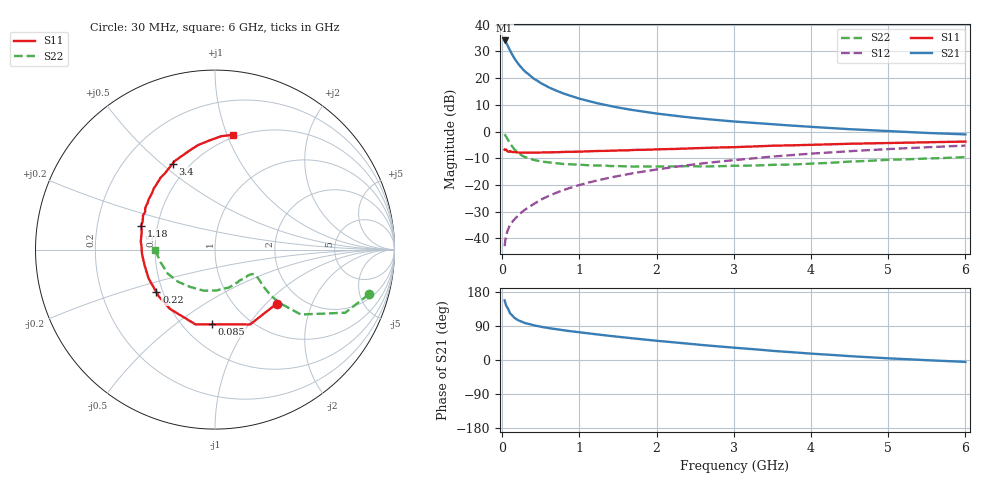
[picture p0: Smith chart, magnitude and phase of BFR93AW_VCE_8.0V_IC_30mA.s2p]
! Infineon Technologies  Discrete & RF Semiconductors
! BFR93AW
! VCE =  8.0 V,  IC =  30 mA
! Common Emitter S-Parameters:  Nov 2015
# GHz  S  MA  R  50
!  f  S11  S21  S12  S22
! GHz  MAG  ANG  MAG  ANG  MAG  ANG  MAG  ANG
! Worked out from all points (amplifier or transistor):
!   206 points, 30 MHz to 6 GHz, reference 50 ohm
!   highest |S21| = 34.1 dB at 30 MHz (marker M1)
!   |S21| within 3 dB of that: start of sweep to 86.22 MHz
!   unconditionally stable (mu >= 1): 471.9 MHz to 2.153 GHz
!   at 200 MHz: K = 0.79, MSG = 28.6 dB, |S12| = -31.6 dB
!   at 1.56 GHz: K = 1.04, MAG = 11.3 dB, |S12| = -16.3 dB
!   at 6 GHz: K = 0.89, MSG = 2.1 dB, |S12| = -5.3 dB
!   S11 on the Smith chart (normalised r, x): 30 MHz: 1.52, -1.16; 85 MHz: 0.68, -0.69; 220 MHz: 0.46, -0.26; 1.18 GHz: 0.41, +0.13; 3.4 GHz: 0.41, +0.55; 6 GHz: 0.48, +1.05
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0.03  0.4572 -41.1  50.88 157.5  0.0071 74.4  0.8935 -16.2
0.05  0.4608 -64.9  46.05 143.6  0.0115 68.9  0.806 -25.9
0.085  0.4169 -92.5  36.32 130.8  0.0159 63.5  0.6584 -33.0
0.1  0.4302 -104.7  32.93 123.2  0.0178 62.1  0.5994 -37.1
0.15  0.4151 -127.3  24.26 112.2  0.022 62.1  0.473 -39.5
0.2  0.4076 -140.1  19.05 105.4  0.0263 64.5  0.403 -39.5
0.22  0.4034 -144.0  17.63 103.7  0.028 65.1  0.3843 -38.9
0.26  0.4009 -151.2  15.05 100.0  0.0314 66.2  0.3509 -37.8
0.3  0.4035 -156.3  13.13 97.1  0.0347 67.3  0.3296 -36.7
0.4  0.4018 -165.9  9.97 91.7  0.0431 69.8  0.2948 -34.0
0.5  0.4045 -172.9  8.067 87.6  0.0528 71.3  0.274 -32.8
0.6  0.4076 -177.6  6.754 84.2  0.0618 71.9  0.2632 -32.2
0.7  0.4091 177.8  5.829 81.0  0.0711 72.8  0.2553 -32.5
1.04  0.4212 166.0  3.986 72.0  0.1033 72.4  0.2368 -36.8
1.18  0.4307 162.2  3.53 68.6  0.1163 72.0  0.232 -39.6
1.5  0.4436 154.8  2.815 61.3  0.1464 70.3  0.2255 -46.7
2.02  0.4642 142.5  2.155 50.4  0.1965 66.6  0.2216 -60.9
3.1  0.5146 121.3  1.505 31.0  0.3002 57.3  0.2284 -91.6
3.4  0.5344 116.2  1.399 26.0  0.3295 54.4  0.234 -102.1
4.1  0.5676 105.0  1.198 15.6  0.3935 47.3  0.2531 -127.0
5.1  0.6128 91.7  1.002 3.5  0.477 36.6  0.2972 -156.0
6  0.6466 81.3  0.883 -5.0  0.5449 27.2  0.3323 -179.5
